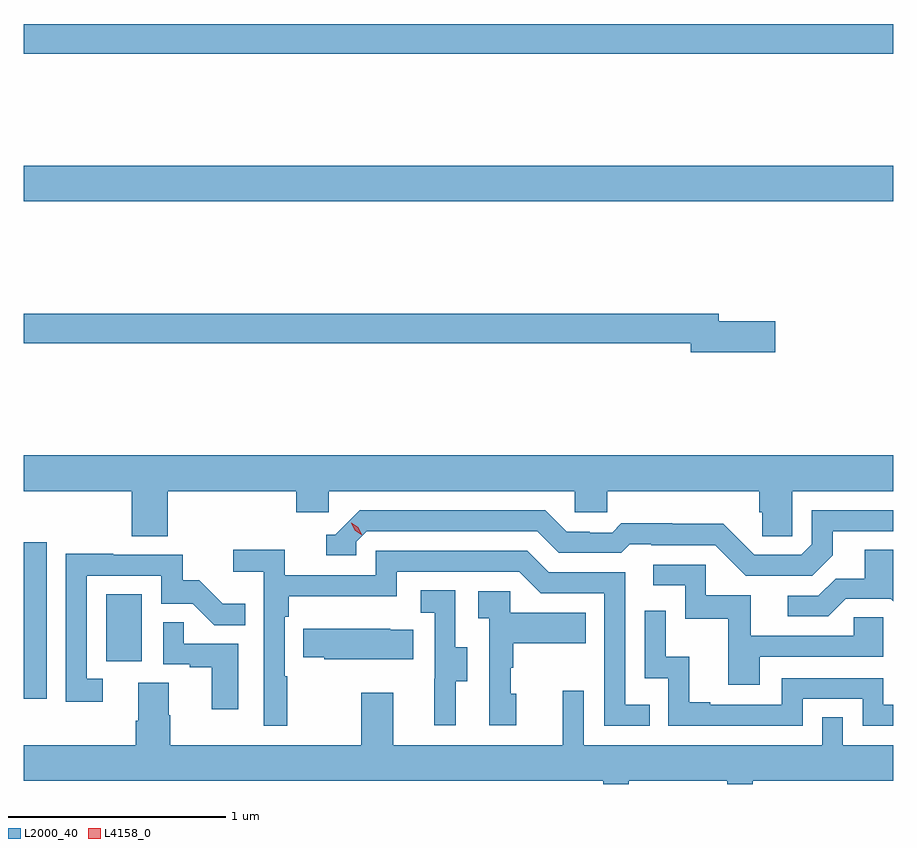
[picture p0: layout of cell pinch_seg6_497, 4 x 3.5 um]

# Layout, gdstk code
import gdstk
lib = gdstk.Library(unit=1e-6, precision=1e-09)
def R(c, l, rs):  # rectangles x0, y0, x1, y1
    for r in rs: c.add(gdstk.rectangle(r[:2], r[2:], *l))
def P(c, l, *ps):  # polygons
    for p in ps: c.add(gdstk.Polygon(p, *l))
L2000_40 = (2000, 40)
L4158_0 = (4158, 0)

pinch_seg6_497 = lib.new_cell('pinch_seg6_497')
R(pinch_seg6_497, L2000_40, [(854.694,918.408,854.8,919.129), (855.074,918.582,855.238,918.889), (854.694,920.696,858.694,920.86), (854.694,921.376,858.694,921.512)])
P(pinch_seg6_497, L2000_40, [(858.151,920.144),(857.89,920.144),(857.89,920.18),(854.694,920.18),(854.694,920.044),(857.762,920.044),(857.762,920.002),(858.151,920.002)],
  [(855.356,919.364),(855.947,919.364),(855.947,919.266),(856.098,919.266),(856.098,919.364),(857.229,919.364),(857.229,919.266),(857.379,919.266),(857.379,919.364),(858.077,919.364),(858.077,919.266),(858.091,919.266),(858.091,919.156),(858.228,919.156),(858.228,919.364),(858.694,919.364),(858.694,919.528),(854.694,919.528),(854.694,919.364),(855.191,919.364),(855.191,919.156),(855.356,919.156)],
  [(858.415,919.069),(858.415,919.179),(858.694,919.179),(858.694,919.275),(858.318,919.275),(858.318,919.119),(858.27,919.071),(858.054,919.071),(857.912,919.213),(857.676,919.213),(857.676,919.216),(857.443,919.216),(857.401,919.173),(857.298,919.173),(857.298,919.176),(857.191,919.176),(857.092,919.275),(856.239,919.275),(856.128,919.164),(856.085,919.164),(856.085,919.068),(856.224,919.068),(856.224,919.131),(856.272,919.179),(857.055,919.179),(857.154,919.08),(857.443,919.08),(857.482,919.119),(857.581,919.119),(857.581,919.116),(857.874,919.116),(858.015,918.975),(858.321,918.975)],
  [(858.475,918.87),(858.681,918.87),(858.694,918.857),(858.694,919.094),(858.563,919.094),(858.563,918.962),(858.428,918.962),(858.348,918.882),(858.207,918.882),(858.207,918.789),(858.394,918.789)],
  [(855.907,918.512),(855.894,918.512),(855.894,918.785),(855.914,918.785),(855.914,918.881),(856.41,918.881),(856.41,918.993),(856.974,918.993),(857.073,918.894),(857.364,918.894),(857.364,918.285),(857.573,918.285),(857.573,918.381),(857.46,918.381),(857.46,918.99),(857.11,918.99),(857.011,919.089),(856.314,919.089),(856.314,918.978),(855.896,918.978),(855.896,919.094),(855.657,919.094),(855.657,918.992),(855.798,918.992),(855.798,918.285),(855.907,918.285)],
  [(855.058,918.501),(854.985,918.501),(854.985,918.975),(855.327,918.975),(855.327,918.846),(855.472,918.846),(855.57,918.748),(855.713,918.748),(855.713,918.847),(855.609,918.847),(855.502,918.954),(855.426,918.954),(855.426,919.071),(855.107,919.071),(855.107,919.076),(854.889,919.076),(854.889,918.396),(855.058,918.396)],
  [(858.079,918.603),(858.648,918.603),(858.648,918.783),(858.511,918.783),(858.511,918.699),(858.037,918.699),(858.037,918.885),(857.832,918.885),(857.832,919.026),(857.589,919.026),(857.589,918.93),(857.736,918.93),(857.736,918.777),(857.935,918.777),(857.935,918.474),(858.079,918.474)],
  [(856.681,918.49),(856.735,918.49),(856.735,918.645),(856.68,918.645),(856.68,918.908),(856.521,918.908),(856.521,918.805),(856.584,918.805),(856.584,918.501),(856.583,918.501),(856.583,918.288),(856.681,918.288)],
  [(856.96,918.432),(856.935,918.432),(856.935,918.551),(856.945,918.551),(856.945,918.665),(857.279,918.665),(857.279,918.805),(856.932,918.805),(856.932,918.903),(856.785,918.903),(856.785,918.779),(856.836,918.779),(856.836,918.288),(856.96,918.288)],
  [(858.276,918.408),(858.552,918.408),(858.552,918.285),(858.694,918.285),(858.694,918.381),(858.648,918.381),(858.648,918.504),(858.18,918.504),(858.18,918.381),(857.851,918.381),(857.851,918.394),(857.756,918.394),(857.756,918.602),(857.646,918.602),(857.646,918.814),(857.55,918.814),(857.55,918.504),(857.658,918.504),(857.658,918.285),(858.276,918.285)],
  [(855.682,918.663),(855.431,918.663),(855.431,918.761),(855.336,918.761),(855.336,918.567),(855.457,918.567),(855.457,918.555),(855.56,918.555),(855.56,918.36),(855.682,918.36)],
  [(856.487,918.727),(856.379,918.727),(856.379,918.73),(855.979,918.73),(855.979,918.601),(856.077,918.601),(856.077,918.59),(856.487,918.59)],
  [(857.477,918.032),(857.93,918.032),(857.93,918.017),(858.047,918.017),(858.047,918.032),(858.694,918.032),(858.694,918.196),(858.462,918.196),(858.462,918.323),(858.366,918.323),(858.366,918.196),(857.271,918.196),(857.271,918.445),(857.174,918.445),(857.174,918.196),(856.393,918.196),(856.393,918.436),(856.246,918.436),(856.246,918.196),(855.369,918.196),(855.369,918.333),(855.361,918.333),(855.361,918.482),(855.221,918.482),(855.221,918.308),(855.209,918.308),(855.209,918.196),(854.694,918.196),(854.694,918.032),(857.359,918.032),(857.359,918.017),(857.477,918.017)])
P(pinch_seg6_497, L4158_0, [(856.247,919.164),(856.217,919.184),(856.201,919.217),(856.201,919.218),(856.201,919.218),(856.232,919.197),(856.248,919.165),(856.248,919.164)])

lib.write_gds('pinch_seg6_497.gds')
